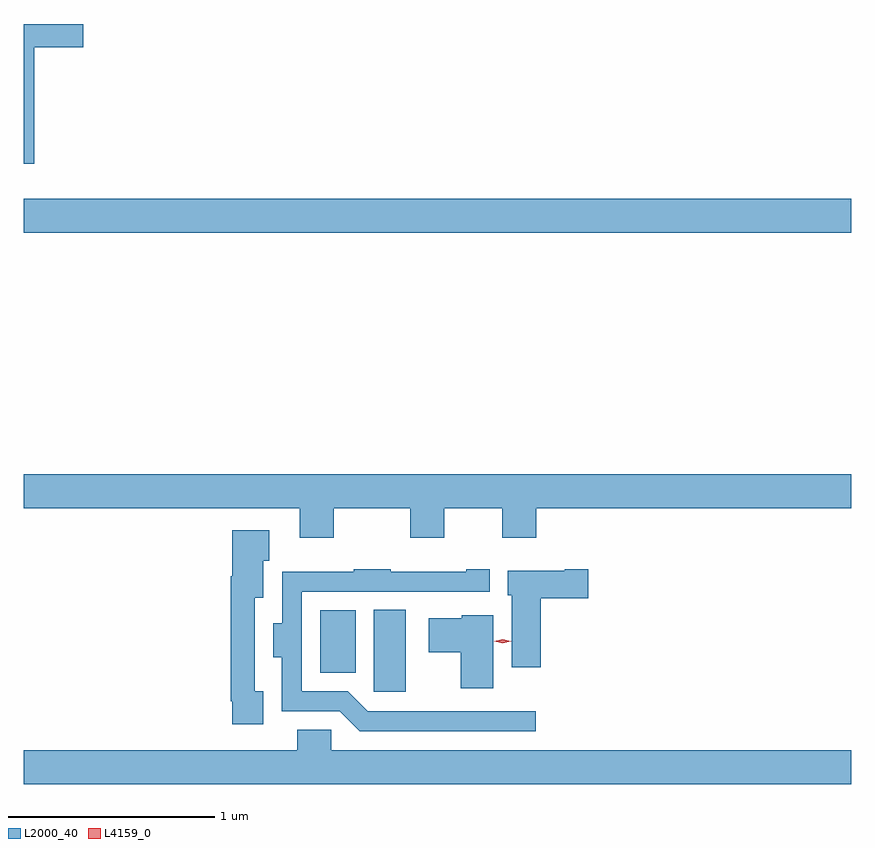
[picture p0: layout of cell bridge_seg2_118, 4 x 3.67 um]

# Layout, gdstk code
import gdstk
lib = gdstk.Library(unit=1e-6, precision=1e-09)
def R(c, l, rs):  # rectangles x0, y0, x1, y1
    for r in rs: c.add(gdstk.rectangle(r[:2], r[2:], *l))
def P(c, l, *ps):  # polygons
    for p in ps: c.add(gdstk.Polygon(p, *l))
L2000_40 = (2000, 40)
L4159_0 = (4159, 0)

bridge_seg2_118 = lib.new_cell('bridge_seg2_118')
R(bridge_seg2_118, L2000_40, [(472.388,636.095,472.543,636.491), (472.13,636.185,472.3,636.487), (470.696,638.312,474.696,638.476)])
P(bridge_seg2_118, L2000_40, [(470.747,639.209),(470.983,639.209),(470.983,639.321),(470.696,639.321),(470.696,638.646),(470.747,638.646)],
  [(472.195,636.98),(472.565,636.98),(472.565,636.837),(472.729,636.837),(472.729,636.98),(473.009,636.98),(473.009,636.837),(473.173,636.837),(473.173,636.98),(474.696,636.98),(474.696,637.144),(470.696,637.144),(470.696,636.98),(472.031,636.98),(472.031,636.837),(472.195,636.837)],
  [(471.853,636.097),(471.813,636.097),(471.813,636.548),(471.853,636.548),(471.853,636.727),(471.883,636.727),(471.883,636.874),(471.704,636.874),(471.704,636.652),(471.697,636.652),(471.697,636.049),(471.705,636.049),(471.705,635.937),(471.853,635.937)],
  [(473.195,636.545),(473.425,636.545),(473.425,636.687),(473.312,636.687),(473.312,636.679),(473.036,636.679),(473.036,636.561),(473.054,636.561),(473.054,636.213),(473.195,636.213)],
  [(473.17,636),(472.359,636),(472.263,636.096),(472.041,636.096),(472.041,636.576),(472.948,636.576),(472.948,636.685),(472.835,636.685),(472.835,636.673),(472.469,636.673),(472.469,636.685),(472.291,636.685),(472.291,636.673),(471.945,636.673),(471.945,636.424),(471.902,636.424),(471.902,636.26),(471.944,636.26),(471.944,636),(472.224,636),(472.32,635.904),(473.17,635.904)],
  [(472.966,636.463),(472.812,636.463),(472.812,636.448),(472.653,636.448),(472.653,636.284),(472.808,636.284),(472.808,636.111),(472.966,636.111)],
  [(474.696,635.812),(472.182,635.812),(472.182,635.91),(472.019,635.91),(472.019,635.812),(470.696,635.812),(470.696,635.648),(474.696,635.648)])
P(bridge_seg2_118, L4159_0, [(473.011,636.328),(472.97,636.337),(472.97,636.338),(472.97,636.338),(473.011,636.348),(473.051,636.338),(473.052,636.338),(473.051,636.338)])

lib.write_gds('bridge_seg2_118.gds')
